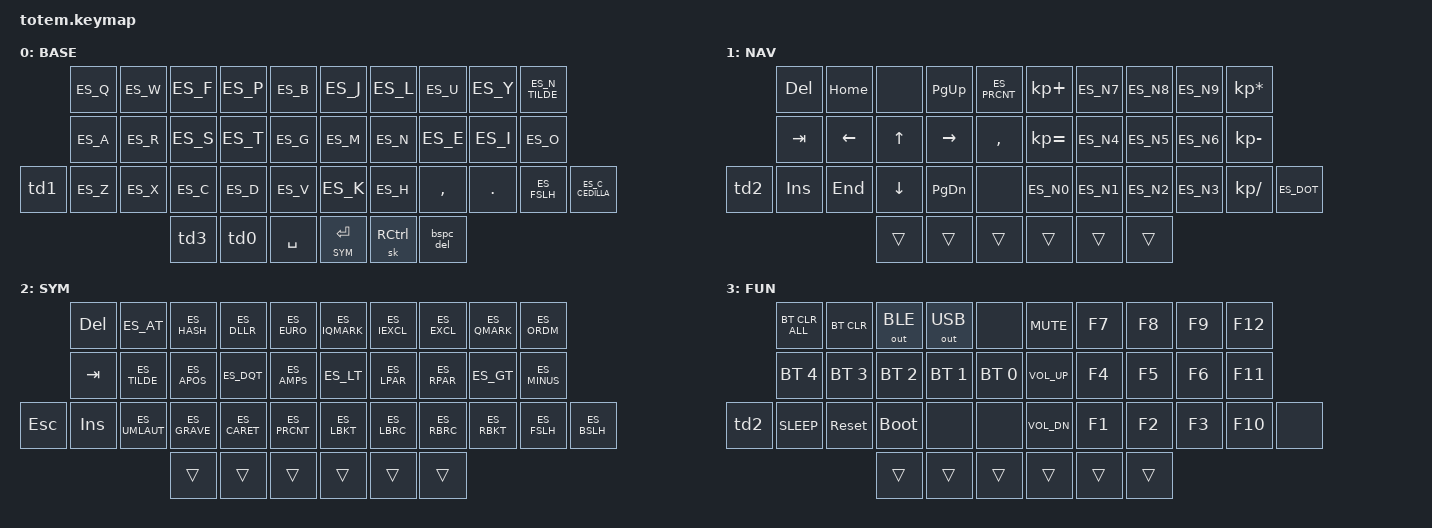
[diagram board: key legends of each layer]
//
//                                                        ▀▀▀▀▀     ▀▀▀▀▀          ▀▀█▀▀
//                                                        ▄▀▀▀▄  ▄  ▄▀▀▀▄  ▄  ▄▀▀▀▄  █  ▄▀▀▀▄
//                                                        █   █  █  █   █  █  █   █  █  █   █
//                                                         ▀▀▀   █   ▀▀▀   █   ▀▀▀   ▀   ▀▀▀
//                                                               █      ▄▄▄█▄▄▄    █   █  
//                                                               ▀      █  █  █     █▄█
//                                                             ▀▀▀▀▀    █  █  █      ▀
//                                                                      ▀  ▀  ▀
//
// ▄▄▄▄▄▄▄▄▄▄▄▄▄▄▄▄▄▄▄▄▄▄▄▄▄▄▄▄▄▄▄▄▄▄▄▄▄▄▄▄▄▄▄▄▄▄▄▄▄▄▄▄▄▄▄▄▄▄▄▄▄▄▄▄▄▄▄▄▄▄▄▄▄▄▄▄▄▄▄▄▄▄▄▄▄▄▄▄▄▄▄▄▄▄▄▄▄▄▄▄▄▄▄▄▄▄▄▄▄▄▄▄▄▄▄▄▄▄▄▄▄▄▄▄▄▄▄▄▄▄▄▄▄▄▄▄▄▄▄▄▄▄▄▄▄▄▄▄▄
       

#include <behaviors.dtsi>
#include <dt-bindings/zmk/keys.h>
#include <dt-bindings/zmk/bt.h>
#include <dt-bindings/zmk/outputs.h>
#include "keys_es.h"

#define BASE 0
#define NAV  1
#define SYM  2
#define FUN  3

&mt {
  quick-tap-ms = <100>;
  global-quick-tap;
  flavor = "tap-preferred";
  tapping-term-ms = <170>;
};

/ {
     behaviors {
        //acesc: acute_escape {
        //    compatible = "zmk,behavior-mod-morph";
        //    #binding-cells = <0>;
        //    bindings = <&kp ES_ACUTE>, <&kp ESC>;
        //    mods = <(MOD_LSFT|MOD_RSFT)>;
        //};
        combos {
            compatible = "zmk,combos";
            combo_esc {
                timeout-ms = <50>;
                key-positions = <1 2>;
                bindings = <&kp ESC>;
                layers = <0 1>;
            };
            combo_nav {
                timeout-ms = <50>;
                key-positions = <34 35>;
                bindings = <&to NAV>;
                layers = <0>;
            };
        };
        bspc_del: backspace_delete {
            compatible = "zmk,behavior-mod-morph";
            #binding-cells = <0>;
            bindings = <&kp BACKSPACE>, <&kp DELETE>;
            mods = <(MOD_LSFT|MOD_RSFT)>;
            keep-mods = <0>;
        };
        td0: tap_dance_0 {
            compatible = "zmk,behavior-tap-dance";
            #binding-cells = <0>;
            tapping-term-ms = <300>;
            bindings = <&sk LSHIFT>, <&kp CAPSLOCK>;
        };
        td1: tap_dance_1 {
            compatible = "zmk,behavior-tap-dance";
            #binding-cells = <0>;
            tapping-term-ms = <300>;
            bindings = <&kp ES_ACUTE>, <&none>;
        };
        td2: tap_dance_2 {
            compatible = "zmk,behavior-tap-dance";
            #binding-cells = <0>;
            tapping-term-ms = <300>;
            bindings = <&to FUN>, <&to BASE>;
        };
        td3: tap_dance_3 {
            compatible = "zmk,behavior-tap-dance";
            #binding-cells = <0>;
            tapping-term-ms = <300>;
            bindings = <&sk LGUI>, <&sk LALT>;
        };
    };

        keymap {
                compatible = "zmk,keymap";
// ▄▄▄▄▄▄▄▄▄▄▄▄▄▄▄▄▄▄▄▄▄▄▄▄▄▄▄▄▄▄▄▄▄▄▄▄▄▄▄▄▄▄▄▄▄▄▄▄▄▄▄▄▄▄▄▄▄▄▄▄▄▄▄▄▄▄▄▄▄▄▄▄▄▄▄▄▄▄▄▄▄▄▄▄▄▄▄▄▄▄▄▄▄▄▄▄▄▄▄▄▄▄▄▄▄▄▄▄▄▄▄▄▄▄▄▄▄▄▄▄▄▄▄▄▄▄▄▄▄▄▄▄▄▄▄▄▄▄▄▄▄▄▄▄▄▄▄▄▄

                base_layer {
// ┏━━━━━━━━━━━━━━━━━━━━━━━━━━━━━━━━━━━━━━━┓
label= "BASE"                              ;
// ┗━━━━━━━━━━━━━━━━━━━━━━━━━━━━━━━━━━━━━━━┛
//             ┏━━━━━━━━━━━┳━━━━━━━━━━━┳━━━━━━━━━━━┳━━━━━━━━━━━┳━━━━━━━━━━━┓   ┏━━━━━━━━━━━┳━━━━━━━━━━━┳━━━━━━━━━━━┳━━━━━━━━━━━┳━━━━━━━━━━━┓
//             ┃     Q     ┃     W     ┃     F     ┃     P     ┃     B     ┃   ┃     J     ┃     L     ┃     U     ┃     Y     ┃     Ñ     ┃
//             ┣━━━━━━━━━━━╋━━━━━━━━━━━╋━━━━━━━━━━━╋━━━━━━━━━━━╋━━━━━━━━━━━┫   ┣━━━━━━━━━━━╋━━━━━━━━━━━╋━━━━━━━━━━━╋━━━━━━━━━━━╋━━━━━━━━━━━┫
//             ┃     A     ┃     R     ┃     S     ┃     T     ┃     G     ┃   ┃     M     ┃     N     ┃     E     ┃     I     ┃     O     ┃
// ┏━━━━━━━━━━━╋━━━━━━━━━━━╋━━━━━━━━━━━╋━━━━━━━━━━━╋━━━━━━━━━━━╋━━━━━━━━━━━┫   ┣━━━━━━━━━━━╋━━━━━━━━━━━╋━━━━━━━━━━━╋━━━━━━━━━━━╋━━━━━━━━━━━╋━━━━━━━━━━━┓
// ┃     '     ┃     Z     ┃     X     ┃     C     ┃     D     ┃     V     ┃   ┃     K     ┃     H     ┃     ,     ┃     .     ┃     /     ┃     ç     ┃
// ┗━━━━━━━━━━━┻━━━━━━━━━━━┻━━━━━━━━━━━╋━━━━━━━━━━━╋━━━━━━━━━━━╋━━━━━━━━━━━┫   ┣━━━━━━━━━━━╋━━━━━━━━━━━╋━━━━━━━━━━━╋━━━━━━━━━━━┻━━━━━━━━━━━┻━━━━━━━━━━━┛
//                                     ┃  GUI ALT  ┃   SHIFT   ┃    SPC    ┃   ┃   ENTER   ┃   CTRL    ┃   BSPC    ┃
//                                     ┗━━━━━━━━━━━┻━━━━━━━━━━━┻━━━━━━━━━━━┛   ┗━━━━━━━━━━━┻━━━━━━━━━━━┻━━━━━━━━━━━┛
 bindings = <
// ╷           ╷           ╷           ╷           ╷           ╷           ╷   ╷           ╷           ╷           ╷           ╷           ╷           ╷

                &kp ES_Q    &kp ES_W    &kp ES_F    &kp ES_P    &kp ES_B        &kp ES_J    &kp ES_L    &kp ES_U    &kp ES_Y    &kp ES_N_TILDE
                &kp ES_A    &kp ES_R    &kp ES_S    &kp ES_T    &kp ES_G        &kp ES_M    &kp ES_N    &kp ES_E    &kp ES_I    &kp ES_O
    &td1        &kp ES_Z    &kp ES_X    &kp ES_C    &kp ES_D    &kp ES_V        &kp ES_K    &kp ES_H    &kp COMMA   &kp DOT     &kp ES_FSLH  &kp ES_C_CEDILLA
                                        &td3        &td0        &kp SPACE       &lt SYM RET &sk RCTRL   &bspc_del
                        >;
                };

// ▄▄▄▄▄▄▄▄▄▄▄▄▄▄▄▄▄▄▄▄▄▄▄▄▄▄▄▄▄▄▄▄▄▄▄▄▄▄▄▄▄▄▄▄▄▄▄▄▄▄▄▄▄▄▄▄▄▄▄▄▄▄▄▄▄▄▄▄▄▄▄▄▄▄▄▄▄▄▄▄▄▄▄▄▄▄▄▄▄▄▄▄▄▄▄▄▄▄▄▄▄▄▄▄▄▄▄▄▄▄▄▄▄▄▄▄▄▄▄▄▄▄▄▄▄▄▄▄▄▄▄▄▄▄▄▄▄▄▄▄▄▄▄▄▄▄▄▄▄


                nav_layer {
// ┏━━━━━━━━━━━━━━━━━━━━━━━━━━━━━━━━━━━━━━━┓
label= "NAV"                              ;
// ┗━━━━━━━━━━━━━━━━━━━━━━━━━━━━━━━━━━━━━━━┛
//             ┏━━━━━━━━━━━┳━━━━━━━━━━━┳━━━━━━━━━━━┳━━━━━━━━━━━┳━━━━━━━━━━━┓   ┏━━━━━━━━━━━┳━━━━━━━━━━━┳━━━━━━━━━━━┳━━━━━━━━━━━┳━━━━━━━━━━━┓
//             ┃    DEL    ┃   HOME    ┃           ┃   PG UP   ┃     %     ┃   ┃     +     ┃     7     ┃     8     ┃     9     ┃     *     ┃
//             ┣━━━━━━━━━━━╋━━━━━━━━━━━╋━━━━━━━━━━━╋━━━━━━━━━━━╋━━━━━━━━━━━┫   ┣━━━━━━━━━━━╋━━━━━━━━━━━╋━━━━━━━━━━━╋━━━━━━━━━━━╋━━━━━━━━━━━┫
//             ┃    TAB    ┃   LEFT    ┃    UP     ┃   RIGHT   ┃     ,     ┃   ┃     =     ┃     4     ┃     5     ┃     6     ┃     -     ┃
// ┏━━━━━━━━━━━╋━━━━━━━━━━━╋━━━━━━━━━━━╋━━━━━━━━━━━╋━━━━━━━━━━━╋━━━━━━━━━━━┫   ┣━━━━━━━━━━━╋━━━━━━━━━━━╋━━━━━━━━━━━╋━━━━━━━━━━━╋━━━━━━━━━━━╋━━━━━━━━━━━┓
// ┃ FUN  BASE ┃    INS    ┃   END     ┃   DOWN    ┃   PG DN   ┃           ┃   ┃     0     ┃     1     ┃     2     ┃     3     ┃     /     ┃     .     ┃
// ┗━━━━━━━━━━━┻━━━━━━━━━━━┻━━━━━━━━━━━╋━━━━━━━━━━━╋━━━━━━━━━━━╋━━━━━━━━━━━┫   ┣━━━━━━━━━━━╋━━━━━━━━━━━╋━━━━━━━━━━━╋━━━━━━━━━━━┻━━━━━━━━━━━┻━━━━━━━━━━━┛
//                                     ┃           ┃           ┃           ┃   ┃           ┃           ┃           ┃
//                                     ┗━━━━━━━━━━━┻━━━━━━━━━━━┻━━━━━━━━━━━┛   ┗━━━━━━━━━━━┻━━━━━━━━━━━┻━━━━━━━━━━━┛
 bindings = <
// ╷           ╷           ╷           ╷           ╷           ╷           ╷   ╷           ╷           ╷           ╷           ╷           ╷           ╷

                &kp DEL     &kp HOME    &none       &kp PG_UP   &kp ES_PRCNT    &kp KP_PLUS  &kp ES_N7   &kp ES_N8   &kp ES_N9   &kp KP_MULTIPLY
                &kp TAB     &kp LEFT    &kp UP      &kp RIGHT   &kp COMMA       &kp KP_EQUAL &kp ES_N4   &kp ES_N5   &kp ES_N6   &kp KP_MINUS
    &td2        &kp INS     &kp END     &kp DOWN    &kp PG_DN   &none           &kp ES_N0    &kp ES_N1   &kp ES_N2   &kp ES_N3   &kp KP_DIVIDE &kp ES_DOT
                                        &trans      &trans      &trans          &trans       &trans      &trans      
                        >;
                };

// ▄▄▄▄▄▄▄▄▄▄▄▄▄▄▄▄▄▄▄▄▄▄▄▄▄▄▄▄▄▄▄▄▄▄▄▄▄▄▄▄▄▄▄▄▄▄▄▄▄▄▄▄▄▄▄▄▄▄▄▄▄▄▄▄▄▄▄▄▄▄▄▄▄▄▄▄▄▄▄▄▄▄▄▄▄▄▄▄▄▄▄▄▄▄▄▄▄▄▄▄▄▄▄▄▄▄▄▄▄▄▄▄▄▄▄▄▄▄▄▄▄▄▄▄▄▄▄▄▄▄▄▄▄▄▄▄▄▄▄▄▄▄▄▄▄▄▄▄▄


                sim_layer {
// ┏━━━━━━━━━━━━━━━━━━━━━━━━━━━━━━━━━━━━━━━┓
label= "SYM"                               ;
// ┗━━━━━━━━━━━━━━━━━━━━━━━━━━━━━━━━━━━━━━━┛
//             ┏━━━━━━━━━━━┳━━━━━━━━━━━┳━━━━━━━━━━━┳━━━━━━━━━━━┳━━━━━━━━━━━┓   ┏━━━━━━━━━━━┳━━━━━━━━━━━┳━━━━━━━━━━━┳━━━━━━━━━━━┳━━━━━━━━━━━┓
//             ┃    DEL    ┃     @     ┃     #     ┃     $     ┃     €     ┃   ┃     ¿     ┃     ¡     ┃     !     ┃     ?     ┃   º   ª   ┃
//             ┣━━━━━━━━━━━╋━━━━━━━━━━━╋━━━━━━━━━━━╋━━━━━━━━━━━╋━━━━━━━━━━━┫   ┣━━━━━━━━━━━╋━━━━━━━━━━━╋━━━━━━━━━━━╋━━━━━━━━━━━╋━━━━━━━━━━━┫
//             ┃    TAB    ┃     ~     ┃     '     ┃     ¨     ┃     &     ┃   ┃     <     ┃     (     ┃     )     ┃     >     ┃   -   _   ┃
// ┏━━━━━━━━━━━╋━━━━━━━━━━━╋━━━━━━━━━━━╋━━━━━━━━━━━╋━━━━━━━━━━━╋━━━━━━━━━━━┫   ┣━━━━━━━━━━━╋━━━━━━━━━━━╋━━━━━━━━━━━╋━━━━━━━━━━━╋━━━━━━━━━━━╋━━━━━━━━━━━┓
// ┃    ESC    ┃    INS    ┃     ¨     ┃     `     ┃     ^     ┃     %     ┃   ┃     [     ┃     {     ┃     }     ┃     ]     ┃     /     ┃     \     ┃
// ┗━━━━━━━━━━━┻━━━━━━━━━━━┻━━━━━━━━━━━╋━━━━━━━━━━━╋━━━━━━━━━━━╋━━━━━━━━━━━┫   ┣━━━━━━━━━━━╋━━━━━━━━━━━╋━━━━━━━━━━━╋━━━━━━━━━━━┻━━━━━━━━━━━┻━━━━━━━━━━━┛
//                                     ┃           ┃           ┃           ┃   ┃           ┃           ┃           ┃
//                                     ┗━━━━━━━━━━━┻━━━━━━━━━━━┻━━━━━━━━━━━┛   ┗━━━━━━━━━━━┻━━━━━━━━━━━┻━━━━━━━━━━━┛
 bindings = <
// ╷           ╷           ╷           ╷           ╷           ╷           ╷   ╷           ╷           ╷           ╷           ╷           ╷           ╷

                &kp DEL     &kp ES_AT     &kp ES_HASH   &kp ES_DLLR  &kp ES_EURO  &kp ES_IQMARK &kp ES_IEXCL &kp ES_EXCL &kp ES_QMARK &kp ES_ORDM       
                &kp TAB     &kp ES_TILDE  &kp ES_APOS   &kp ES_DQT   &kp ES_AMPS  &kp ES_LT     &kp ES_LPAR  &kp ES_RPAR &kp ES_GT    &kp ES_MINUS 
    &kp ESC     &kp INS     &kp ES_UMLAUT &kp ES_GRAVE  &kp ES_CARET &kp ES_PRCNT &kp ES_LBKT   &kp ES_LBRC  &kp ES_RBRC &kp ES_RBKT  &kp ES_FSLH  &kp ES_BSLH         
                                          &trans        &trans       &trans       &trans        &trans       &trans      
                        >;
                };

// ▄▄▄▄▄▄▄▄▄▄▄▄▄▄▄▄▄▄▄▄▄▄▄▄▄▄▄▄▄▄▄▄▄▄▄▄▄▄▄▄▄▄▄▄▄▄▄▄▄▄▄▄▄▄▄▄▄▄▄▄▄▄▄▄▄▄▄▄▄▄▄▄▄▄▄▄▄▄▄▄▄▄▄▄▄▄▄▄▄▄▄▄▄▄▄▄▄▄▄▄▄▄▄▄▄▄▄▄▄▄▄▄▄▄▄▄▄▄▄▄▄▄▄▄▄▄▄▄▄▄▄▄▄▄▄▄▄▄▄▄▄▄▄▄▄▄▄▄▄


                func_layer {
// ┏━━━━━━━━━━━━━━━━━━━━━━━━━━━━━━━━━━━━━━━┓
label= "FUN"                               ;
// ┗━━━━━━━━━━━━━━━━━━━━━━━━━━━━━━━━━━━━━━━┛
//             ┏━━━━━━━━━━━┳━━━━━━━━━━━┳━━━━━━━━━━━┳━━━━━━━━━━━┳━━━━━━━━━━━┓   ┏━━━━━━━━━━━┳━━━━━━━━━━━┳━━━━━━━━━━━┳━━━━━━━━━━━┳━━━━━━━━━━━┓
//             ┃ BT_CLR_ALL┃  BT_CLR   ┃  OUT_BLE  ┃  OUT_USB  ┃           ┃   ┃   MUTE    ┃    F7     ┃    F8     ┃    F9     ┃    F12    ┃
//             ┣━━━━━━━━━━━╋━━━━━━━━━━━╋━━━━━━━━━━━╋━━━━━━━━━━━╋━━━━━━━━━━━┫   ┣━━━━━━━━━━━╋━━━━━━━━━━━╋━━━━━━━━━━━╋━━━━━━━━━━━╋━━━━━━━━━━━┫
//             ┃  BT_SEL 4 ┃  BT_SEL 3 ┃  BT_SEL 2 ┃  BT_SEL 1 ┃  BT_SEL 0 ┃   ┃   VOL +   ┃    F4     ┃    F5     ┃    F6     ┃    F11    ┃
// ┏━━━━━━━━━━━╋━━━━━━━━━━━╋━━━━━━━━━━━╋━━━━━━━━━━━╋━━━━━━━━━━━╋━━━━━━━━━━━┫   ┣━━━━━━━━━━━╋━━━━━━━━━━━╋━━━━━━━━━━━╋━━━━━━━━━━━╋━━━━━━━━━━━╋━━━━━━━━━━━┓
// ┃  FUN BASE ┃   SLEEP   ┃   RESET   ┃ BOOTLOAD  ┃           ┃           ┃   ┃   VOL-    ┃    F1     ┃    F2     ┃    F3     ┃    F10    ┃           ┃
// ┗━━━━━━━━━━━┻━━━━━━━━━━━┻━━━━━━━━━━━╋━━━━━━━━━━━╋━━━━━━━━━━━╋━━━━━━━━━━━┫   ┣━━━━━━━━━━━╋━━━━━━━━━━━╋━━━━━━━━━━━╋━━━━━━━━━━━┻━━━━━━━━━━━┻━━━━━━━━━━━┛
//                                     ┃           ┃           ┃           ┃   ┃           ┃           ┃           ┃
//                                     ┗━━━━━━━━━━━┻━━━━━━━━━━━┻━━━━━━━━━━━┛   ┗━━━━━━━━━━━┻━━━━━━━━━━━┻━━━━━━━━━━━┛
 bindings = <
// ╷           ╷           ╷           ╷           ╷           ╷           ╷   ╷           ╷           ╷           ╷           ╷           ╷           ╷

                &bt BT_CLR_ALL &bt BT_CLR   &out OUT_BLE &out OUT_USB &none         &kp C_MUTE    &kp F7   &kp F8   &kp F9      &kp F12
                &bt BT_SEL 4   &bt BT_SEL 3 &bt BT_SEL 2 &bt BT_SEL 1 &bt BT_SEL 0  &kp C_VOL_UP  &kp F4   &kp F5   &kp F6      &kp F11  
    &td2        &kp K_SLEEP  &sys_reset   &bootloader  &none   &none           &kp C_VOL_DN  &kp F1     &kp F2      &kp F3      &kp F10     &none         
                                          &trans      &trans     &trans          &trans        &trans   &trans      
                        >;
                };

// ▄▄▄▄▄▄▄▄▄▄▄▄▄▄▄▄▄▄▄▄▄▄▄▄▄▄▄▄▄▄▄▄▄▄▄▄▄▄▄▄▄▄▄▄▄▄▄▄▄▄▄▄▄▄▄▄▄▄▄▄▄▄▄▄▄▄▄▄▄▄▄▄▄▄▄▄▄▄▄▄▄▄▄▄▄▄▄▄▄▄▄▄▄▄▄▄▄▄▄▄▄▄▄▄▄▄▄▄▄▄▄▄▄▄▄▄▄▄▄▄▄▄▄▄▄▄▄▄▄▄▄▄▄▄▄▄▄▄▄▄▄▄▄▄▄▄▄▄▄

        };
}; 
